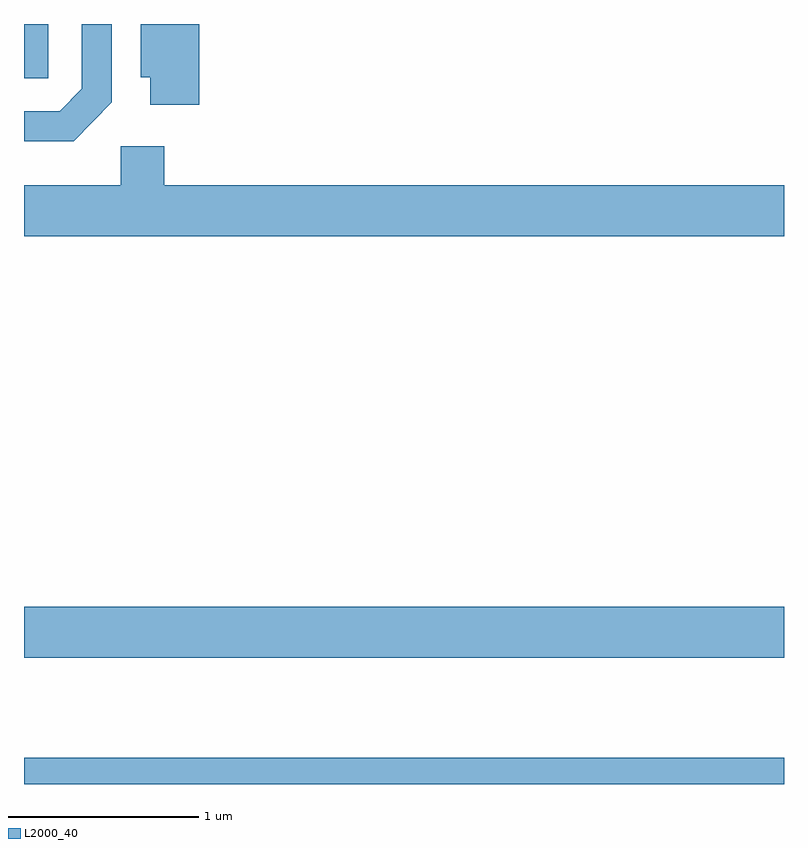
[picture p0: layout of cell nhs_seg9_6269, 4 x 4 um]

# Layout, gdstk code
import gdstk
lib = gdstk.Library(unit=1e-6, precision=1e-09)
def R(c, l, rs):  # rectangles x0, y0, x1, y1
    for r in rs: c.add(gdstk.rectangle(r[:2], r[2:], *l))
def P(c, l, *ps):  # polygons
    for p in ps: c.add(gdstk.Polygon(p, *l))
L2000_40 = (2000, 40)

nhs_seg9_6269 = lib.new_cell('nhs_seg9_6269')
R(nhs_seg9_6269, L2000_40, [(369.611,2044.432,373.611,2044.569), (369.611,2045.096,373.611,2045.364), (369.611,2048.146,369.739,2048.432)])
P(nhs_seg9_6269, L2000_40, [(370.074,2048.019),(370.074,2048.432),(369.916,2048.432),(369.916,2048.092),(369.799,2047.974),(369.611,2047.974),(369.611,2047.816),(369.872,2047.816)],
  [(370.534,2048.432),(370.226,2048.432),(370.226,2048.151),(370.276,2048.151),(370.276,2048.006),(370.534,2048.006)],
  [(373.611,2047.584),(370.349,2047.584),(370.349,2047.789),(370.121,2047.789),(370.121,2047.584),(369.611,2047.584),(369.611,2047.316),(373.611,2047.316)])

lib.write_gds('nhs_seg9_6269.gds')
